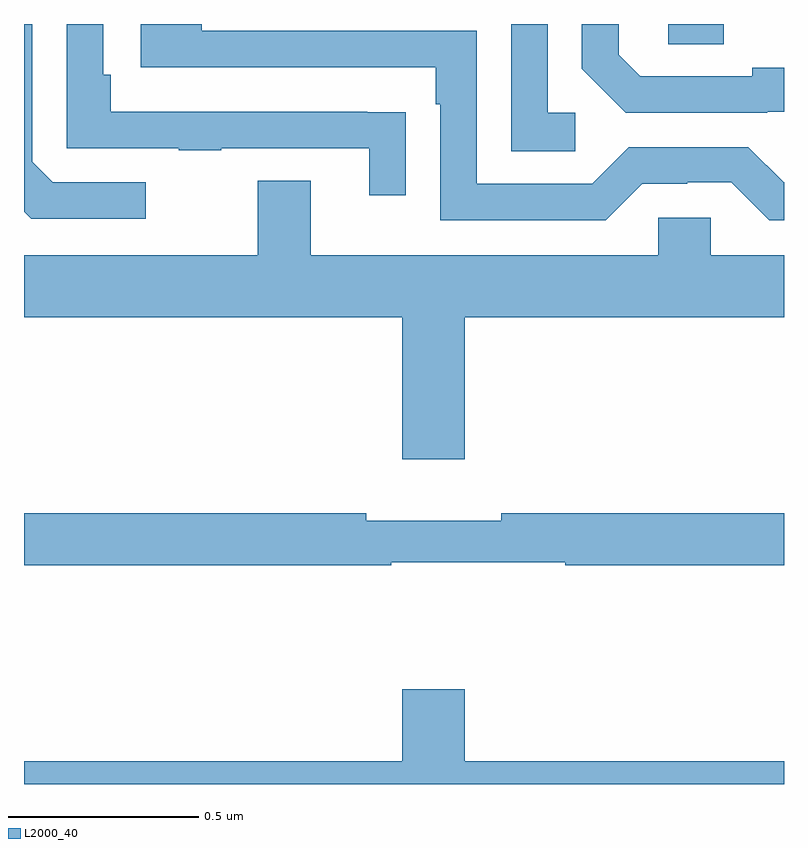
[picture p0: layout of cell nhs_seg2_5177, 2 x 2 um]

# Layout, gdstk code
import gdstk
lib = gdstk.Library(unit=1e-6, precision=1e-09)
def R(c, l, rs):  # rectangles x0, y0, x1, y1
    for r in rs: c.add(gdstk.rectangle(r[:2], r[2:], *l))
def P(c, l, *ps):  # polygons
    for p in ps: c.add(gdstk.Polygon(p, *l))
L2000_40 = (2000, 40)

nhs_seg2_5177 = lib.new_cell('nhs_seg2_5177')
R(nhs_seg2_5177, L2000_40, [(177.696,589.747,177.841,589.8)])
P(nhs_seg2_5177, L2000_40, [(176.32,589.383),(176.076,589.383),(176.022,589.437),(176.022,589.8),(176,589.8),(176,589.306),(176.019,589.287),(176.32,589.287)],
  [(177.005,589.568),(176.903,589.568),(176.903,589.569),(176.228,589.569),(176.228,589.666),(176.208,589.666),(176.208,589.8),(176.112,589.8),(176.112,589.473),(176.407,589.473),(176.407,589.468),(176.519,589.468),(176.519,589.473),(176.909,589.473),(176.909,589.35),(177.005,589.35)],
  [(177.956,589.569),(178,589.569),(178,589.685),(177.917,589.685),(177.917,589.662),(177.622,589.662),(177.565,589.719),(177.565,589.8),(177.468,589.8),(177.468,589.682),(177.584,589.566),(177.956,589.566)],
  [(178,589.383),(177.999,589.383),(177.906,589.476),(177.591,589.476),(177.495,589.38),(177.192,589.38),(177.192,589.782),(176.468,589.782),(176.468,589.8),(176.307,589.8),(176.307,589.686),(177.083,589.686),(177.083,589.589),(177.096,589.589),(177.096,589.284),(177.531,589.284),(177.627,589.38),(177.746,589.38),(177.746,589.383),(177.861,589.383),(177.961,589.283),(178,589.283)],
  [(177.451,589.566),(177.378,589.566),(177.378,589.8),(177.282,589.8),(177.282,589.465),(177.451,589.465)],
  [(177.16,589.028),(178,589.028),(178,589.192),(177.807,589.192),(177.807,589.29),(177.669,589.29),(177.669,589.192),(176.755,589.192),(176.755,589.387),(176.615,589.387),(176.615,589.192),(176,589.192),(176,589.028),(176.996,589.028),(176.996,588.654),(177.16,588.654)],
  [(176.967,588.384),(177.424,588.384),(177.424,588.376),(178,588.376),(178,588.512),(177.256,588.512),(177.256,588.493),(176.9,588.493),(176.9,588.512),(176,588.512),(176,588.376),(176.967,588.376)],
  [(178,587.86),(177.16,587.86),(177.16,588.049),(176.996,588.049),(176.996,587.86),(176,587.86),(176,587.8),(178,587.8)])

lib.write_gds('nhs_seg2_5177.gds')
